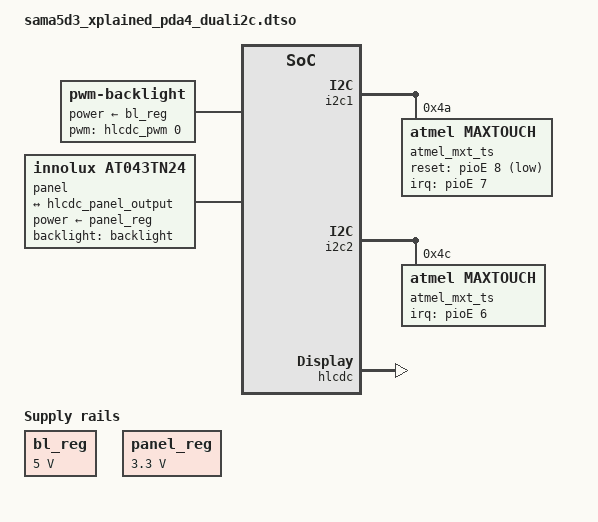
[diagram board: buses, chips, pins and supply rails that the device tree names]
// SPDX-License-Identifier: (GPL-2.0+ OR MIT)
/*
 * at91-sama5d3_xplained_pda4.dtso - Device Tree file for SAMA5D3 Xplained board
 * overlay blob for PDA TM4300 LCD screen.
 *
 * Copyright (C) 2018 Microchip Technology, Inc.
 * Author: Eugen Hristev <eugen.hristev@microchip.com>
 *
 */
/dts-v1/;
/plugin/;

#include "dt-bindings/pinctrl/at91.h"

&i2c1 {
	#address-cells = <1>;
	#size-cells = <0>;
	status = "okay";

	atmel_mxt_ts@4a {
		compatible = "atmel,maxtouch";
		reg = <0x4a>;
		reset-gpios = <&pioE 8 1>;	/* GPIO_ACTIVE_LOW = 1, must define value */
		interrupt-parent = <&pioE>;
		interrupts = <7 0x2>;	/* Falling edge only */
		pinctrl-names = "default";
		pinctrl-0 = <&pinctrl_mxt_irq_i2c1 &pinctrl_mxt_rst>;
		status = "okay";
	};
};

&i2c2 {
	#address-cells = <1>;
	#size-cells = <0>;
	status = "okay";

	atmel_mxt_ts@4c {
		compatible = "atmel,maxtouch";
		reg = <0x4c>;
		interrupt-parent = <&pioE>;
		interrupts = <6 0x2>;	/* Falling edge only */
		pinctrl-names = "default";
		pinctrl-0 = <&pinctrl_mxt_irq_i2c2>;
		status = "okay";
	};
};


&hlcdc {
	status = "okay";

	hlcdc-display-controller {
		pinctrl-names = "default";
		pinctrl-0 = <&pinctrl_lcd_base &pinctrl_lcd_rgb888_alt>;
		port@0 {
			#address-cells = <1>;
			#size-cells = <0>;
			hlcdc_panel_output: endpoint@0 {
				reg = <0>;
				remote-endpoint = <&panel_input>;
			};
		};
	};
};

&pinctrl {
	board {
		pinctrl_mxt_irq_spi: mxt_ts_irq_spi {
			atmel,pins =
				<AT91_PIOE 6 AT91_PERIPH_GPIO AT91_PINCTRL_PULL_UP_DEGLITCH>;
		};

		pinctrl_mxt_irq_i2c1: mxt_ts_irq_i2C1 {
			atmel,pins =
				<AT91_PIOE 7 AT91_PERIPH_GPIO AT91_PINCTRL_PULL_UP_DEGLITCH>;
		};

		pinctrl_mxt_irq_i2c2: mxt_ts_irq_i2C2 {
			atmel,pins =
				<AT91_PIOE 6 AT91_PERIPH_GPIO AT91_PINCTRL_PULL_UP_DEGLITCH>;
		};

		pinctrl_mxt_rst: mxt_ts_rst {
			atmel,pins =
				<AT91_PIOE 8 AT91_PERIPH_GPIO AT91_PINCTRL_DEGLITCH>;
		};
	};
};

&{/} {
	model = "Atmel SAMA5D3 Xplained TM43xx";

	backlight: backlight {
		compatible = "pwm-backlight";
		pwms = <&hlcdc_pwm 0 50000 0>;
		brightness-levels = <0 4 8 16 32 64 128 255>;
		default-brightness-level = <7>;
		power-supply = <&bl_reg>;
		status = "okay";
	};

	bl_reg: backlight_regulator {
		compatible = "regulator-fixed";
		regulator-name = "backlight-power-supply";
		regulator-min-microvolt = <5000000>;
		regulator-max-microvolt = <5000000>;
		status = "okay";
	};

	panel: panel {
		compatible = "innolux,at043tn24", "simple-panel";
		backlight = <&backlight>;
		power-supply = <&panel_reg>;
		#address-cells = <1>;
		#size-cells = <0>;
		status = "okay";

		port@0 {
			reg = <0>;
			#address-cells = <1>;
			#size-cells = <0>;

			panel_input: endpoint@0 {
				reg = <0>;
				remote-endpoint = <&hlcdc_panel_output>;
			};
		};
	};

	panel_reg: panel_regulator {
		compatible = "regulator-fixed";
		regulator-name = "panel-power-supply";
		regulator-min-microvolt = <3300000>;
		regulator-max-microvolt = <3300000>;
		status = "okay";
	};
};

